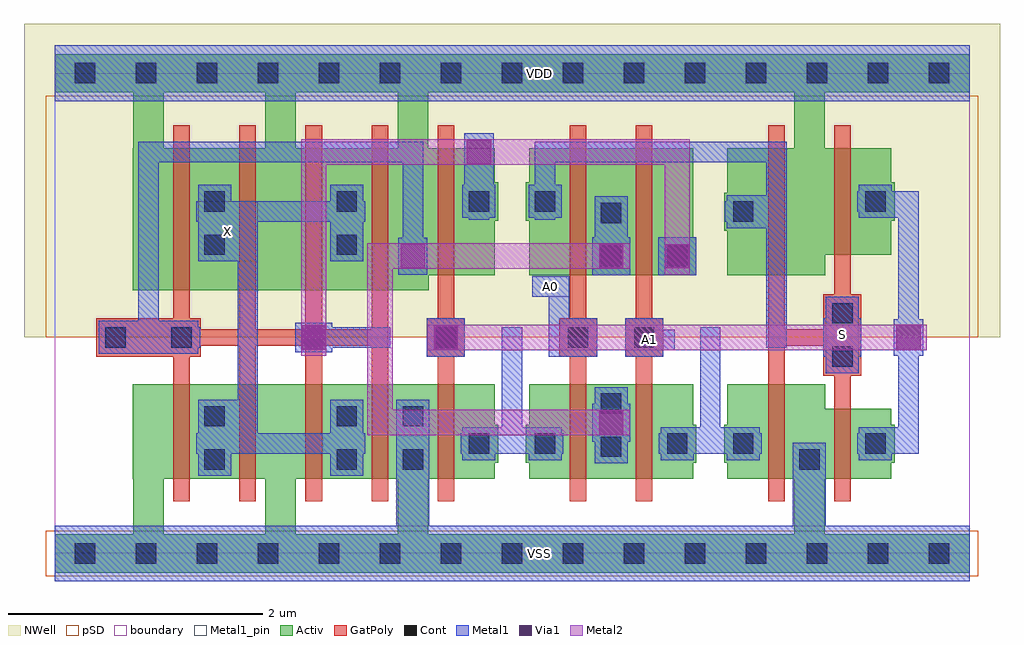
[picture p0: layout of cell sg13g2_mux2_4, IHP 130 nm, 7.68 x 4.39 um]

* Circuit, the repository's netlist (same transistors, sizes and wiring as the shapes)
.SUBCKT sg13g2_mux2_4 X A0 A1 S VDD VSS
*.PININFO A0:I A1:I S:I X:O VDD:B VSS:B
MP1 net4 S VDD VDD sg13_lv_pmos w=1.000u l=130.00n ng=1
MP5 X net6 VDD VDD sg13_lv_pmos w=4.48u l=130.00n ng=4
MP4 net6 A1 net5 VDD sg13_lv_pmos w=1.000u l=130.00n ng=1
MP0 Sb S VDD VDD sg13_lv_pmos w=840.00n l=130.00n ng=1
MP3 net5 Sb VDD VDD sg13_lv_pmos w=1.000u l=130.00n ng=1
MP2 net6 A0 net4 VDD sg13_lv_pmos w=1.000u l=130.00n ng=1
MN4 net3 S VSS VSS sg13_lv_nmos w=740.00n l=130.00n ng=1
MN2 net1 Sb VSS VSS sg13_lv_nmos w=740.00n l=130.00n ng=1
MN5 X net6 VSS VSS sg13_lv_nmos w=2.96u l=130.00n ng=4
MN0 Sb S VSS VSS sg13_lv_nmos w=550.00n l=130.00n ng=1
MN3 net6 A1 net3 VSS sg13_lv_nmos w=740.00n l=130.00n ng=1
MN1 net6 A0 net1 VSS sg13_lv_nmos w=740.00n l=130.00n ng=1
.ENDS

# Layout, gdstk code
import gdstk
lib = gdstk.Library(unit=1e-6, precision=1e-09)
def R(c, l, rs):  # rectangles x0, y0, x1, y1
    for r in rs: c.add(gdstk.rectangle(r[:2], r[2:], *l))
def A(c, l, x, y, w, h, nx, ny, dx, dy):  # array of equal rectangles
    R(c, l, [(x+i*dx, y+j*dy, x+i*dx+w, y+j*dy+h) for i in range(nx) for j in range(ny)])
def P(c, l, *ps):  # polygons
    for p in ps: c.add(gdstk.Polygon(p, *l))
Activ = (1, 0)
GatPoly = (5, 0)
Cont = (6, 0)
Metal1 = (8, 0)
Metal1_pin = (8, 2)
Metal2 = (10, 0)
pSD = (14, 0)
Via1 = (19, 0)
NWell = (31, 0)
boundary = (189, 4)

sg13g2_mux2_4 = lib.new_cell('sg13g2_mux2_4')
P(sg13g2_mux2_4, Activ, [(1.9,0.59),(1.9,1.33),(0.86,1.33),(0.86,0.59),(0.86,1.33),(0.615,1.33),(0.615,0.59),(0.62,0.59),(0.62,0.15),(0,0.15),(0,-0.15),(0.86,-0.15),(0.86,0.59),(1.66,0.59),(1.66,0.15),(0.86,0.15),(0.86,-0.15),(1.9,-0.15),(1.9,0.59),(2.7,0.59),(2.7,0.15),(1.9,0.15),(1.9,-0.15),(7.2,-0.15),(7.2,0.15),(6.06,0.15),(6.06,0.59),(6.585,0.59),(6.585,0.715),(6.61,0.715),(6.61,1.015),(6.585,1.015),(6.585,1.14),(6.065,1.14),(6.065,1.33),(5.295,1.33),(5.295,1.015),(5.27,1.015),(5.27,0.715),(5.295,0.715),(5.295,0.59),(5.82,0.59),(5.82,0.15),(2.94,0.15),(2.94,0.59),(3.465,0.59),(3.465,0.715),(3.49,0.715),(3.49,1.015),(3.465,1.015),(3.465,1.33),(1.9,1.33)],
  [(1.9,3.63),(1.9,3.93),(0.86,3.93),(0.86,3.63),(0.86,3.93),(0,3.93),(0,3.63),(0.62,3.63),(0.62,3.19),(0.615,3.19),(0.615,2.07),(0.86,2.07),(0.86,3.63),(1.66,3.63),(1.66,3.19),(0.86,3.19),(0.86,2.07),(1.9,2.07),(1.9,3.63),(2.7,3.63),(2.7,3.19),(1.9,3.19),(1.9,2.07),(2.945,2.07),(2.945,2.19),(3.465,2.19),(3.465,2.62),(3.49,2.62),(3.49,2.92),(3.465,2.92),(3.465,3.19),(2.94,3.19),(2.94,3.63),(5.82,3.63),(5.82,3.19),(5.295,3.19),(5.295,2.84),(5.27,2.84),(5.27,2.54),(5.295,2.54),(5.295,2.19),(6.065,2.19),(6.065,2.35),(6.585,2.35),(6.585,2.62),(6.61,2.62),(6.61,2.92),(6.585,2.92),(6.585,3.19),(6.06,3.19),(6.06,3.63),(7.2,3.63),(7.2,3.93),(1.9,3.93)],
  [(3.71,0.715),(3.735,0.715),(3.735,0.59),(5.025,0.59),(5.025,0.715),(5.05,0.715),(5.05,1.015),(5.025,1.015),(5.025,1.33),(3.735,1.33),(3.735,1.015),(3.71,1.015)],
  [(3.71,2.62),(3.735,2.62),(3.735,2.19),(5.05,2.19),(5.05,2.49),(5.025,2.49),(5.025,3.19),(3.735,3.19),(3.735,2.92),(3.71,2.92)])
P(sg13g2_mux2_4, GatPoly, [(0.33,1.55),(0.935,1.55),(0.935,0.41),(1.065,0.41),(1.065,1.55),(1.15,1.55),(1.15,1.635),(1.455,1.635),(1.455,0.41),(1.585,0.41),(1.585,1.635),(1.975,1.635),(1.975,0.41),(2.105,0.41),(2.105,1.635),(2.495,1.635),(2.495,0.41),(2.625,0.41),(2.625,3.37),(2.495,3.37),(2.495,1.765),(2.105,1.765),(2.105,3.37),(1.975,3.37),(1.975,1.765),(1.585,1.765),(1.585,3.37),(1.455,3.37),(1.455,1.765),(1.15,1.765),(1.15,1.85),(1.065,1.85),(1.065,3.37),(0.935,3.37),(0.935,1.85),(0.33,1.85)],
  [(2.93,1.55),(3.015,1.55),(3.015,0.41),(3.145,0.41),(3.145,1.55),(3.23,1.55),(3.23,1.85),(3.145,1.85),(3.145,3.37),(3.015,3.37),(3.015,1.85),(2.93,1.85)],
  [(3.97,1.55),(4.055,1.55),(4.055,0.41),(4.185,0.41),(4.185,1.55),(4.27,1.55),(4.27,1.85),(4.185,1.85),(4.185,3.37),(4.055,3.37),(4.055,1.85),(3.97,1.85)],
  [(4.49,1.55),(4.575,1.55),(4.575,0.41),(4.705,0.41),(4.705,1.55),(4.79,1.55),(4.79,1.85),(4.705,1.85),(4.705,3.37),(4.575,3.37),(4.575,1.85),(4.49,1.85)],
  [(5.615,0.41),(5.745,0.41),(5.745,1.635),(6.05,1.635),(6.05,1.4),(6.135,1.4),(6.135,0.41),(6.265,0.41),(6.265,1.4),(6.35,1.4),(6.35,2.04),(6.265,2.04),(6.265,3.37),(6.135,3.37),(6.135,2.04),(6.05,2.04),(6.05,1.765),(5.745,1.765),(5.745,3.37),(5.615,3.37)])
A(sg13g2_mux2_4, Cont, 0.16, -0.08, 0.16, 0.16, 15, 2, 0.48, 3.78)
A(sg13g2_mux2_4, Cont, 1.18, 2.69, 0.16, 0.16, 3, 1, 1.04, 0)
R(sg13g2_mux2_4, Cont, [(1.18,0.66,1.34,0.82), (2.22,0.66,2.38,0.82), (2.74,0.66,2.9,0.82), (5.86,0.66,6.02,0.82), (4.3,0.76,4.46,0.92), (3.26,0.785,3.42,0.945), (3.78,0.785,3.94,0.945), (4.82,0.785,4.98,0.945), (5.34,0.785,5.5,0.945), (6.38,0.785,6.54,0.945), (1.18,1,1.34,1.16), (2.22,1,2.38,1.16), (2.74,1,2.9,1.16), (4.3,1.1,4.46,1.26), (6.12,1.47,6.28,1.63), (0.4,1.62,0.56,1.78), (0.92,1.62,1.08,1.78), (3,1.62,3.16,1.78), (4.04,1.62,4.2,1.78), (4.56,1.62,4.72,1.78), (6.12,1.81,6.28,1.97), (4.3,2.26,4.46,2.42), (4.82,2.26,4.98,2.42), (1.18,2.35,1.34,2.51), (2.22,2.35,2.38,2.51), (4.3,2.6,4.46,2.76), (5.34,2.61,5.5,2.77), (3.78,2.69,3.94,2.85), (6.38,2.69,6.54,2.85)])
R(sg13g2_mux2_4, Metal1, [(2.93,1.55,3.23,1.85), (4.75,2.19,5.05,2.49), (0,3.56,7.2,4)])
P(sg13g2_mux2_4, Metal1, [(0,-0.22),(7.2,-0.22),(7.2,0.22),(6.07,0.22),(6.07,0.87),(5.81,0.87),(5.81,0.22),(2.95,0.22),(2.95,1.21),(2.69,1.21),(2.69,0.22),(0,0.22)],
  [(0.35,1.57),(1.13,1.57),(1.13,1.62),(1.145,1.62),(1.145,1.78),(1.13,1.78),(1.13,1.83),(0.82,1.83),(0.82,3.08),(2.74,3.08),(2.74,2.485),(2.705,2.485),(2.705,2.195),(2.935,2.195),(2.935,2.485),(2.9,2.485),(2.9,3.24),(0.66,3.24),(0.66,1.83),(0.35,1.83)],
  [(1.115,0.785),(1.13,0.785),(1.13,0.61),(1.39,0.61),(1.39,0.785),(2.17,0.785),(2.17,0.61),(2.43,0.61),(2.43,0.785),(2.445,0.785),(2.445,0.945),(2.43,0.945),(2.43,1.21),(2.17,1.21),(2.17,0.945),(1.6,0.945),(1.6,2.61),(2.17,2.61),(2.17,2.3),(2.43,2.3),(2.43,2.61),(2.445,2.61),(2.445,2.77),(2.43,2.77),(2.43,2.9),(2.17,2.9),(2.17,2.77),(1.39,2.77),(1.39,2.9),(1.13,2.9),(1.13,2.77),(1.115,2.77),(1.115,2.61),(1.13,2.61),(1.13,2.3),(1.44,2.3),(1.44,1.21),(1.13,1.21),(1.13,0.945),(1.115,0.945)],
  [(1.895,1.585),(2.185,1.585),(2.185,1.62),(2.64,1.62),(2.64,1.78),(2.185,1.78),(2.185,1.815),(1.895,1.815)],
  [(3.195,0.785),(3.21,0.785),(3.21,0.735),(3.47,0.735),(3.47,0.785),(3.73,0.785),(3.73,0.735),(3.99,0.735),(3.99,0.785),(4.005,0.785),(4.005,0.945),(3.99,0.945),(3.99,0.995),(3.68,0.995),(3.68,1.78),(3.52,1.78),(3.52,0.995),(3.21,0.995),(3.21,0.945),(3.195,0.945)],
  [(3.21,2.64),(3.26,2.64),(3.26,2.625),(3.42,2.625),(3.42,2.64),(3.47,2.64),(3.47,2.9),(3.455,2.9),(3.455,3.305),(3.225,3.305),(3.225,2.9),(3.21,2.9)],
  [(3.73,2.64),(3.78,2.64),(3.78,2.625),(3.94,2.625),(3.94,2.64),(3.99,2.64),(3.99,2.9),(3.94,2.9),(3.94,3.08),(5.6,3.08),(5.6,2.82),(5.29,2.82),(5.29,2.77),(5.275,2.77),(5.275,2.61),(5.29,2.61),(5.29,2.56),(5.6,2.56),(5.6,1.62),(5.76,1.62),(5.76,3.24),(3.78,3.24),(3.78,2.9),(3.73,2.9)],
  [(3.76,2.02),(3.89,2.02),(3.89,1.55),(4.27,1.55),(4.27,1.85),(4.05,1.85),(4.05,2.18),(3.76,2.18)],
  [(4.23,0.88),(4.25,0.88),(4.25,0.71),(4.51,0.71),(4.51,0.88),(4.53,0.88),(4.53,1.18),(4.51,1.18),(4.51,1.31),(4.25,1.31),(4.25,1.18),(4.23,1.18)],
  [(4.23,2.19),(4.53,2.19),(4.53,2.49),(4.51,2.49),(4.51,2.81),(4.25,2.81),(4.25,2.49),(4.23,2.49)],
  [(4.49,1.55),(4.79,1.55),(4.79,1.6),(4.88,1.6),(4.88,1.76),(4.79,1.76),(4.79,1.85),(4.49,1.85)],
  [(4.755,0.785),(4.77,0.785),(4.77,0.735),(5.03,0.735),(5.03,0.785),(5.29,0.785),(5.29,0.735),(5.55,0.735),(5.55,0.785),(5.565,0.785),(5.565,0.945),(5.55,0.945),(5.55,0.995),(5.24,0.995),(5.24,1.78),(5.08,1.78),(5.08,0.995),(4.77,0.995),(4.77,0.945),(4.755,0.945)],
  [(6.05,1.55),(6.07,1.55),(6.07,1.42),(6.33,1.42),(6.33,1.55),(6.35,1.55),(6.35,1.85),(6.33,1.85),(6.33,2.02),(6.07,2.02),(6.07,1.85),(6.05,1.85)],
  [(6.315,0.785),(6.33,0.785),(6.33,0.735),(6.59,0.735),(6.59,0.785),(6.8,0.785),(6.8,1.555),(6.835,1.555),(6.835,1.845),(6.8,1.845),(6.8,2.85),(6.59,2.85),(6.59,2.9),(6.33,2.9),(6.33,2.85),(6.315,2.85),(6.315,2.69),(6.33,2.69),(6.33,2.64),(6.64,2.64),(6.64,1.845),(6.605,1.845),(6.605,1.555),(6.64,1.555),(6.64,0.995),(6.33,0.995),(6.33,0.945),(6.315,0.945)])
R(sg13g2_mux2_4, Metal1_pin, [(0,-0.22,7.2,0.22), (6.07,1.42,6.33,2.02), (4.49,1.6,4.88,1.76), (3.76,2.02,4.05,2.18), (1.13,2.3,1.6,2.77), (0,3.56,7.2,4)])
R(sg13g2_mux2_4, Metal2, [(2.935,1.6,6.865,1.8)])
P(sg13g2_mux2_4, Metal2, [(1.94,1.555),(2.14,1.555),(2.14,3.06),(4.8,3.06),(4.8,2.195),(5,2.195),(5,3.26),(1.94,3.26)],
  [(2.46,0.93),(4.525,0.93),(4.525,1.13),(2.66,1.13),(2.66,2.24),(4.525,2.24),(4.525,2.44),(2.46,2.44)])
R(sg13g2_mux2_4, pSD, [(-0.07,-0.18,7.27,0.18), (-0.07,1.7,7.27,3.6)])
R(sg13g2_mux2_4, Via1, [(4.285,0.935,4.475,1.125), (1.945,1.605,2.135,1.795), (2.985,1.605,3.175,1.795), (6.625,1.605,6.815,1.795), (2.725,2.245,2.915,2.435), (4.285,2.245,4.475,2.435), (4.805,2.245,4.995,2.435), (3.245,3.065,3.435,3.255)])
R(sg13g2_mux2_4, NWell, [(-0.24,1.7,7.44,4.17)])
R(sg13g2_mux2_4, boundary, [(0,0,7.2,3.78)])
sg13g2_mux2_4.add(gdstk.Label('X', (1.365,2.535), layer=8, texttype=25))
sg13g2_mux2_4.add(gdstk.Label('A0', (3.905,2.1), layer=8, texttype=25))
sg13g2_mux2_4.add(gdstk.Label('A1', (4.685,1.68), layer=8, texttype=25))
sg13g2_mux2_4.add(gdstk.Label('S', (6.2,1.72), layer=8, texttype=25))
sg13g2_mux2_4.add(gdstk.Label('VSS', (3.82,0), layer=8, texttype=25))
sg13g2_mux2_4.add(gdstk.Label('VDD', (3.82,3.78), layer=8, texttype=25))

lib.write_gds('sg13g2_mux2_4.gds')
